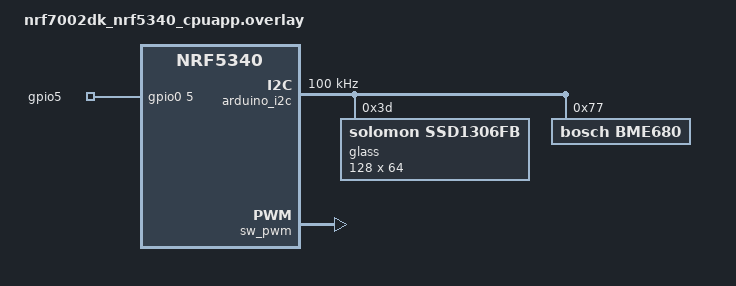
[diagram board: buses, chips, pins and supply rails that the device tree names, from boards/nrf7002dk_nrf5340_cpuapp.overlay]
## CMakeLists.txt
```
#
# Copyright (c) 2021 Nordic Semiconductor ASA
#
# SPDX-License-Identifier: LicenseRef-Nordic-5-Clause
#

cmake_minimum_required(VERSION 3.20.0)
set(SHIELD ssd1306_128x64)

# Set Kconfig root files that will be processed as a first Kconfig for used child images.
set(mcuboot_KCONFIG_ROOT "\\\${ZEPHYR_CONNECTEDHOMEIP_MODULE_DIR}/config/nrfconnect/chip-module/Kconfig.mcuboot.root")
set(multiprotocol_rpmsg_KCONFIG_ROOT "\\\${ZEPHYR_CONNECTEDHOMEIP_MODULE_DIR}/config/nrfconnect/chip-module/Kconfig.multiprotocol_rpmsg.root")
set(hci_rpmsg_KCONFIG_ROOT "\\\${ZEPHYR_CONNECTEDHOMEIP_MODULE_DIR}/config/nrfconnect/chip-module/Kconfig.hci_rpmsg.root")

# For prj.conf the CONF_FILE is empty. In other case extract the exact file name from the path string.
if(CONF_FILE)
    get_filename_component(CONFIG_FILE_NAME ${CONF_FILE} NAME)
endif()

if("${CONFIG_FILE_NAME}" STREQUAL "prj_thread_wifi_switched.conf")
    set(PM_STATIC_YML_FILE ${CMAKE_CURRENT_SOURCE_DIR}/configuration/${BOARD}/pm_static_thread_wifi_switched.yml)
elseif(NOT "${CONFIG_FILE_NAME}" STREQUAL "prj_no_dfu.conf")
    set(PM_STATIC_YML_FILE ${CMAKE_CURRENT_SOURCE_DIR}/configuration/${BOARD}/pm_static_dfu.yml)
endif()

find_package(Zephyr HINTS $ENV{ZEPHYR_BASE})

project(lock)

set(COMMON_ROOT ${ZEPHYR_NRF_MODULE_DIR}/samples/matter/common)
set(NLIO_ROOT ${ZEPHYR_CONNECTEDHOMEIP_MODULE_DIR}/third_party/nlio/repo)
include(${ZEPHYR_CONNECTEDHOMEIP_MODULE_DIR}/config/nrfconnect/app/enable-gnu-std.cmake)
include(${ZEPHYR_CONNECTEDHOMEIP_MODULE_DIR}/src/app/chip_data_model.cmake)

# NORDIC SDK APP START
target_include_directories(app PRIVATE
    src
    ${COMMON_ROOT}/src
    ${NLIO_ROOT}/include
    ${ZEPHYR_CONNECTEDHOMEIP_MODULE_DIR}/zzz_generated/app-common
)

target_sources(app PRIVATE
    src/app_task.cpp
    src/bolt_lock_manager.cpp
    src/main.cpp
    src/zcl_callbacks.cpp
    src/zap-generated/callback-stub.cpp
    src/zap-generated/IMClusterCommandHandler.cpp
    ${COMMON_ROOT}/src/led_widget.cpp
)

if(CONFIG_CHIP_OTA_REQUESTOR OR CONFIG_MCUMGR_TRANSPORT_BT)
    target_sources(app PRIVATE ${COMMON_ROOT}/src/ota_util.cpp)
endif()

if(CONFIG_CHIP_NUS)
    target_sources(app PRIVATE ${COMMON_ROOT}/src/bt_nus_service.cpp)
endif()

if(CONFIG_MCUMGR_TRANSPORT_BT)
    zephyr_library_link_libraries(MCUBOOT_BOOTUTIL)
    target_sources(app PRIVATE ${COMMON_ROOT}/src/dfu_over_smp.cpp)
endif()

if(CONFIG_THREAD_WIFI_SWITCHING)
    target_sources(app PRIVATE
        src/software_images_swapper.cpp
        ${COMMON_ROOT}/src/ota_multi_image_processor_impl.cpp
        ${COMMON_ROOT}/src/ota_multi_image_downloader.cpp
    )
endif()

if(CONFIG_CHIP_ICD_SUBSCRIPTION_HANDLING)
    target_sources(app PRIVATE ${COMMON_ROOT}/src/icd_util.cpp)
endif()

chip_configure_data_model(app
    INCLUDE_SERVER
    BYPASS_IDL
    GEN_DIR src/zap-generated
    ZAP_FILE ${CMAKE_CURRENT_SOURCE_DIR}/src/lock.zap
)

if(CONFIG_THREAD_WIFI_SWITCHING)
    find_package(Python3)
    set(app_idx ${CONFIG_APPLICATION_IDX})
    add_custom_target(flash-external
        COMMAND ${Python3_EXECUTABLE} ${CMAKE_CURRENT_SOURCE_DIR}/src/flash-external.py
            --app ${APPLICATION_BINARY_DIR}/zephyr/app_update.bin
            --app-offset ${PM_APP_${app_idx}_CORE_APP_OFFSET}
            --app-size ${PM_APP_${app_idx}_CORE_APP_SIZE}
            --net ${APPLICATION_BINARY_DIR}/zephyr/net_core_app_update.bin
            --net-offset ${PM_APP_${app_idx}_CORE_NET_OFFSET}
            --net-size ${PM_APP_${app_idx}_CORE_NET_SIZE}
        USES_TERMINAL
        DEPENDS
            ${APPLICATION_BINARY_DIR}/zephyr/app_update.bin
            ${APPLICATION_BINARY_DIR}/zephyr/net_core_app_update.bin
    )
endif()
# NORDIC SDK APP END
```

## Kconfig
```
#
# Copyright (c) 2021 Nordic Semiconductor
#
# SPDX-License-Identifier: LicenseRef-Nordic-5-Clause
#

mainmenu "Aeroguard"

config THREAD_WIFI_SWITCHING
	bool "Switching between Thread and Wi-Fi network support"
	depends on SOC_SERIES_NRF53X
	depends on NET_L2_OPENTHREAD || CHIP_WIFI
	depends on CHIP_OTA_REQUESTOR
	select EXPERIMENTAL
	help
	  Enable the functionality that allows a user to switch between Matter over Thread and Matter
	  over Wi-Fi variants of the application, stored in the respective partitions in the external
	  flash memory.

if THREAD_WIFI_SWITCHING

config APPLICATION_IDX
	int
	default 1 if NET_L2_OPENTHREAD
	default 2 if CHIP_WIFI

config APPLICATION_OTHER_IDX
	int
	default 2 if NET_L2_OPENTHREAD
	default 1 if CHIP_WIFI

config APPLICATION_LABEL
	string
	default "Thread" if NET_L2_OPENTHREAD
	default "Wi-Fi" if CHIP_WIFI

config APPLICATION_OTHER_LABEL
	string
	default "Wi-Fi" if NET_L2_OPENTHREAD
	default "Thread" if CHIP_WIFI

config THREAD_WIFI_SWITCHING_CLI_SUPPORT
	bool "Add CLI command for triggering of the switch between Thread and Wi-Fi"
	default n
	select CHIP_LIB_SHELL

# We need more heap size for image swap buffers
config CHIP_MALLOC_SYS_HEAP_SIZE
	default 30720 if CHIP_WIFI
	default 10240 if NET_L2_OPENTHREAD

endif

# Sample configuration used for Thread networking
if NET_L2_OPENTHREAD

choice OPENTHREAD_NORDIC_LIBRARY_CONFIGURATION
	default OPENTHREAD_NORDIC_LIBRARY_MTD
endchoice

choice OPENTHREAD_DEVICE_TYPE
	default OPENTHREAD_MTD
endchoice

config CHIP_ENABLE_SLEEPY_END_DEVICE_SUPPORT
	bool
	default y

# Reduce Thread TX output power to 0 dBm for SED device
config OPENTHREAD_DEFAULT_TX_POWER
	int
	default 0

endif # NET_L2_OPENTHREAD

if CHIP_WIFI

config NRF_WIFI_LOW_POWER
	default y

endif # CHIP_WIFI

config CHIP_ICD_SUBSCRIPTION_HANDLING
	bool
	default y

source "${ZEPHYR_CONNECTEDHOMEIP_MODULE_DIR}/config/nrfconnect/chip-module/Kconfig.features"
source "${ZEPHYR_CONNECTEDHOMEIP_MODULE_DIR}/config/nrfconnect/chip-module/Kconfig.defaults"
source "Kconfig.zephyr"
```

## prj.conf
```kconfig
#
# Copyright (c) 2022 Nordic Semiconductor ASA
#
# SPDX-License-Identifier: LicenseRef-Nordic-5-Clause
#

# This sample uses Kconfig.defaults to set options common for all
# samples. This file should contain only options specific for this sample
# or overrides of default values.

# Enable CHIP
CONFIG_CHIP=y
CONFIG_CHIP_PROJECT_CONFIG="src/chip_project_config.h"
# 32774 == 0x8006 (example lock-app)
CONFIG_CHIP_DEVICE_PRODUCT_ID=32774
CONFIG_STD_CPP14=y

# Add support for LEDs and buttons on Nordic development kits
CONFIG_DK_LIBRARY=y

# Bluetooth Low Energy configuration
CONFIG_BT_DEVICE_NAME="Aeroguard"

# Suspend devices when the CPU goes into sleep
CONFIG_PM_DEVICE=y

# Other settings
CONFIG_THREAD_NAME=y
CONFIG_MPU_STACK_GUARD=y
CONFIG_RESET_ON_FATAL_ERROR=n

# Reduce application size
CONFIG_USE_SEGGER_RTT=n

# Enable Factory Data feature
CONFIG_CHIP_FACTORY_DATA=y
CONFIG_CHIP_FACTORY_DATA_BUILD=y

# Enable i2c and sensor
CONFIG_I2C=y
CONFIG_SENSOR=y

# BME680 BSEC
CONFIG_BME68X_IAQ=y
CONFIG_BME680=n

# Display and LVGL options below
CONFIG_DISPLAY=y
CONFIG_DISPLAY_LOG_LEVEL_ERR=y

CONFIG_SSD1306_REVERSE_MODE=y

CONFIG_LVGL=y
CONFIG_LV_MEM_CUSTOM=y
CONFIG_LV_USE_LOG=n
CONFIG_LV_USE_MONKEY=n
CONFIG_LV_FONT_MONTSERRAT_14=y
CONFIG_LV_FONT_DEFAULT_MONTSERRAT_14=y

CONFIG_LV_USE_THEME_DEFAULT=y
CONFIG_LV_Z_VDB_SIZE=32
CONFIG_LV_COLOR_DEPTH_1=y

CONFIG_LV_USE_ARC=n
CONFIG_LV_USE_BAR=n
CONFIG_LV_USE_BTN=n
CONFIG_LV_USE_BTNMATRIX=n
CONFIG_LV_USE_CANVAS=n
CONFIG_LV_USE_CHECKBOX=n
CONFIG_LV_USE_DROPDOWN=n
CONFIG_LV_USE_IMG=n
CONFIG_LV_USE_LABEL=y
CONFIG_LV_LABEL_TEXT_SELECTION=n
CONFIG_LV_LABEL_LONG_TXT_HINT=n
CONFIG_LV_USE_LINE=n
CONFIG_LV_USE_ROLLER=n
CONFIG_LV_USE_SLIDER=n
CONFIG_LV_USE_SWITCH=n
CONFIG_LV_USE_TEXTAREA=n
CONFIG_LV_USE_TABLE=n

CONFIG_LV_USE_ANIMIMG=n
CONFIG_LV_USE_CALENDAR=n
CONFIG_LV_USE_CHART=n
CONFIG_LV_USE_COLORWHEEL=n
CONFIG_LV_USE_IMGBTN=n
CONFIG_LV_USE_KEYBOARD=n
CONFIG_LV_USE_LED=n
CONFIG_LV_USE_LIST=n
CONFIG_LV_USE_MENU=n
CONFIG_LV_USE_METER=n
CONFIG_LV_USE_MSGBOX=n
CONFIG_LV_USE_SPAN=n
CONFIG_LV_USE_SPINBOX=n
CONFIG_LV_USE_SPINNER=n
CONFIG_LV_USE_TABVIEW=n
CONFIG_LV_USE_TILEVIEW=n
CONFIG_LV_USE_WIN=n
CONFIG_LV_USE_THEME_BASIC=y
CONFIG_LV_USE_FLEX=y
CONFIG_LV_USE_GRID=y
CONFIG_LV_USE_SNAPSHOT=n
CONFIG_LV_BUILD_EXAMPLES=n

CONFIG_SHELL=n
CONFIG_CHIP_LIB_SHELL=n
CONFIG_ASSERT=n

CONFIG_NET_SOCKETS_POLL_MAX=5

CONFIG_BT=y
CONFIG_BT_PERIPHERAL=y

CONFIG_MBEDTLS_ENABLE_HEAP=y
CONFIG_MBEDTLS_HEAP_SIZE=8192
CONFIG_MBEDTLS_TLS_LIBRARY=y

CONFIG_MBEDTLS_AES_C=y
CONFIG_MBEDTLS_ECP_C=y
CONFIG_MBEDTLS_ECP_DP_SECP256R1_ENABLED=y
CONFIG_MBEDTLS_CTR_DRBG_C=y
CONFIG_MBEDTLS_CIPHER_MODE_CTR=y
CONFIG_MBEDTLS_ECJPAKE_C=y
CONFIG_MBEDTLS_SHA256_C=y
CONFIG_MBEDTLS_PK_C=y
CONFIG_MBEDTLS_PK_WRITE_C=y
CONFIG_MBEDTLS_X509_CREATE_C=y
CONFIG_MBEDTLS_X509_CSR_WRITE_C=y

# Disable unneeded crypto operations
CONFIG_MBEDTLS_SHA384_C=n
CONFIG_MBEDTLS_SHA512_C=n
CONFIG_MBEDTLS_CIPHER_MODE_XTS=n
CONFIG_MBEDTLS_CHACHA20_C=n
CONFIG_MBEDTLS_POLY1305_C=n
CONFIG_MBEDTLS_CHACHAPOLY_C=n
CONFIG_MBEDTLS_GCM_C=n
CONFIG_MBEDTLS_RSA_C=n

CONFIG_LV_Z_MEM_POOL_NUMBER_BLOCKS=2
CONFIG_MAIN_STACK_SIZE=8192

CONFIG_LOG=n
CONFIG_PWM=y
CONFIG_GPIO=y
```

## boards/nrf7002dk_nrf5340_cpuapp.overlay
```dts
/*
 * Copyright (c) 2021 Nordic Semiconductor ASA
 *
 * SPDX-License-Identifier: LicenseRef-Nordic-5-Clause
 */

#include <zephyr/dt-bindings/ipc_service/static_vrings.h>

/ {
	chosen {
		nordic,pm-ext-flash = &mx25r64;
	};
    gpiocustom {
        compatible = "gpio-keys";
        gpio5: gpio5 {
            gpios = <&gpio0 5 GPIO_ACTIVE_HIGH>;
        };
    };
    aliases {
        gpio5 = &gpio5;
    };
};

/* Set IPC thread priority to the highest value to not collide with other threads. */
&ipc0 {
    zephyr,priority = <0 PRIO_COOP>;
};

&arduino_i2c {
	compatible = "nordic,nrf-twim";
	status = "okay";
	clock-frequency = <I2C_BITRATE_STANDARD>;
	zephyr,concat-buf-size = <1024>;	

	glass: ssd1306@3d {
		compatible = "solomon,ssd1306fb";
		reg = <0x3d>;
		width = <128>;
		height = <64>;
		segment-offset = <0>;
		page-offset = <0>;
		display-offset = <0>;
		multiplex-ratio = <63>;
		segment-remap;
		com-invdir;
		prechargep = <0x22>;
	};
	bme680@77 {
		compatible = "bosch,bme680";
		reg = <0x77>;
		status = "okay";
	};
};

&pwm0 {
	status = "disabled";
};

&sw_pwm {
	status = "okay";
	channel-gpios = <&gpio0 4 PWM_POLARITY_NORMAL>;
};

&pwm_led0 {
	pwms = <&sw_pwm 0 PWM_MSEC(20) PWM_POLARITY_NORMAL>;
};
```

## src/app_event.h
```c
/*
 * Copyright (c) 2021 Nordic Semiconductor ASA
 *
 * SPDX-License-Identifier: LicenseRef-Nordic-5-Clause
 */

#pragma once

#include <cstdint>

#include "event_types.h"

class LEDWidget;

enum class AppEventType : uint8_t {
	None = 0,
	Button,
	ButtonPushed,
	ButtonReleased,
	Timer,
	UpdateLedState,
	IdentifyStart,
	IdentifyStop,
	NUSCommand,
    SensorDataRead,
    DisplayUpdate,
	FiltrationActivate,
	FiltrationDeactivate,
};

enum class FunctionEvent : uint8_t { NoneSelected = 0, SoftwareUpdate = 0, FactoryReset, AdvertisingStart };

struct AppEvent {
	union {
		struct {
			uint8_t PinNo;
			uint8_t Action;
		} ButtonEvent;
		struct {
			void *Context;
		} TimerEvent;
		struct {
			uint8_t Action;
			int32_t Actor;
		} 
		LockEvent;
		struct {
			LEDWidget *LedWidget;
		} UpdateLedStateEvent;
	};

	AppEventType Type{ AppEventType::None };
	EventHandler Handler;
};
```

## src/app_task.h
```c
/*
 * Copyright (c) 2021 Nordic Semiconductor ASA
 *
 * SPDX-License-Identifier: LicenseRef-Nordic-5-Clause
 */

#pragma once

#include "app_event.h"
#include "bolt_lock_manager.h"
#include "led_widget.h"

#include <platform/CHIPDeviceLayer.h>

#if CONFIG_CHIP_FACTORY_DATA
#include <platform/nrfconnect/FactoryDataProvider.h>
#else
#include <platform/nrfconnect/DeviceInstanceInfoProviderImpl.h>
#endif

#ifdef CONFIG_MCUMGR_TRANSPORT_BT
#include "dfu_over_smp.h"
#endif

#ifdef CONFIG_CHIP_ICD_SUBSCRIPTION_HANDLING
#include "icd_util.h"
#endif

struct k_timer;
struct Identify;

class AppTask {
public:

	static AppTask &Instance()
	{
		static AppTask sAppTask;
		return sAppTask;
	};

	CHIP_ERROR StartApp();

	void UpdateClusterState(BoltLockManager::State state, BoltLockManager::OperationSource source);

	static void PostEvent(const AppEvent &event);
	static void IdentifyStartHandler(Identify *);
	static void IdentifyStopHandler(Identify *);
	static void SensorReadTimer(struct k_timer *timer_id);

private:
	CHIP_ERROR Init();

	void CancelTimer();
	void StartTimer(uint32_t timeoutInMs);
	static void DispatchEvent(const AppEvent &event);
	static void FunctionTimerEventHandler(const AppEvent &event);
	static void FunctionHandler(const AppEvent &event);
	static void StartBLEAdvertisementAndLockActionEventHandler(const AppEvent &event);
	static void LockActionEventHandler(const AppEvent &event);
	static void StartBLEAdvertisementHandler(const AppEvent &event);
	static void UpdateLedStateEventHandler(const AppEvent &event);
	static void ReadSensorData(const AppEvent &event);
	static void UpdateDisplay(const AppEvent &event);
	static void ActivateFiltration(const AppEvent &event);
	static void DeactivateFiltration(const AppEvent &event);
	static void ChipEventHandler(const chip::DeviceLayer::ChipDeviceEvent *event, intptr_t arg);
	static void ButtonEventHandler(uint32_t buttonState, uint32_t hasChanged);
	static void LEDStateUpdateHandler(LEDWidget &ledWidget);
	static void FunctionTimerTimeoutCallback(k_timer *timer);
	static void UpdateStatusLED();

	static void LockStateChanged(BoltLockManager::State state, BoltLockManager::OperationSource source);

#ifdef CONFIG_THREAD_WIFI_SWITCHING
	static void SwitchImagesDone();
	static void SwitchImagesTriggerHandler(const AppEvent &event);
	static void SwitchImagesTimerTimeoutCallback(k_timer *timer);
	static void SwitchImagesEventHandler(const AppEvent &event);

	bool mSwitchImagesTimerActive = false;
#endif

#ifdef CONFIG_CHIP_NUS
	static void NUSLockCallback(void *context);
	static void NUSUnlockCallback(void *context);
#endif

#ifdef CONFIG_THREAD_WIFI_SWITCHING_CLI_SUPPORT
	static void RegisterSwitchCliCommand();
#endif

	FunctionEvent mFunction = FunctionEvent::NoneSelected;
	bool mFunctionTimerActive = false;

#if CONFIG_CHIP_FACTORY_DATA
	chip::DeviceLayer::FactoryDataProvider<chip::DeviceLayer::InternalFlashFactoryData> mFactoryDataProvider;
#endif
};
```

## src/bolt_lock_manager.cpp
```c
/*
 * Copyright (c) 2021 Nordic Semiconductor ASA
 *
 * SPDX-License-Identifier: LicenseRef-Nordic-5-Clause
 */

#include "bolt_lock_manager.h"

#include "app_event.h"
#include "app_task.h"

using namespace chip;

BoltLockManager BoltLockManager::sLock;

void BoltLockManager::Init(StateChangeCallback callback)
{
	mStateChangeCallback = callback;

	k_timer_init(&mActuatorTimer, &BoltLockManager::ActuatorTimerEventHandler, nullptr);
	k_timer_user_data_set(&mActuatorTimer, this);
}

void BoltLockManager::Lock(OperationSource source)
{
	VerifyOrReturn(mState != State::kLockingCompleted);
	SetState(State::kLockingInitiated, source);

	mActuatorOperationSource = source;
	k_timer_start(&mActuatorTimer, K_MSEC(kActuatorMovementTimeMs), K_NO_WAIT);
}

void BoltLockManager::Unlock(OperationSource source)
{
	VerifyOrReturn(mState != State::kUnlockingCompleted);
	SetState(State::kUnlockingInitiated, source);

	mActuatorOperationSource = source;
	k_timer_start(&mActuatorTimer, K_MSEC(kActuatorMovementTimeMs), K_NO_WAIT);
}

void BoltLockManager::ActuatorTimerEventHandler(k_timer *timer)
{
	/*
	 * The timer event handler is called in the context of the system clock ISR.
	 * Post an event to the application task queue to process the event in the
	 * context of the application thread.
	 */

	AppEvent event;
	event.Type = AppEventType::Timer;
	event.TimerEvent.Context = static_cast<BoltLockManager *>(k_timer_user_data_get(timer));
	event.Handler = BoltLockManager::ActuatorAppEventHandler;
	AppTask::Instance().PostEvent(event);
}

void BoltLockManager::ActuatorAppEventHandler(const AppEvent &event)
{
	BoltLockManager *lock = static_cast<BoltLockManager *>(event.TimerEvent.Context);

	if (!lock) {
		return;
	}

	switch (lock->mState) {
	case State::kLockingInitiated:
		lock->SetState(State::kLockingCompleted, lock->mActuatorOperationSource);
		break;
	case State::kUnlockingInitiated:
		lock->SetState(State::kUnlockingCompleted, lock->mActuatorOperationSource);
		break;
	default:
		break;
	}
}

void BoltLockManager::SetState(State state, OperationSource source)
{
	mState = state;

	if (mStateChangeCallback != nullptr) {
		mStateChangeCallback(state, source);
	}
}
```

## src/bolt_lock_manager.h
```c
/*
 * Copyright (c) 2021 Nordic Semiconductor ASA
 *
 * SPDX-License-Identifier: LicenseRef-Nordic-5-Clause
 */

#pragma once

#include <app/clusters/door-lock-server/door-lock-server.h>
#include <lib/core/ClusterEnums.h>

#include <zephyr/kernel.h>

#include <cstdint>

class AppEvent;

class BoltLockManager {
public:
	static constexpr size_t kMaxCredentialLength = 128;

	enum class State : uint8_t {
		kLockingInitiated = 0,
		kLockingCompleted,
		kUnlockingInitiated,
		kUnlockingCompleted,
	};

	using OperationSource = chip::app::Clusters::DoorLock::OperationSourceEnum;
	using StateChangeCallback = void (*)(State, OperationSource);

	static constexpr uint32_t kActuatorMovementTimeMs = 2000;

	void Init(StateChangeCallback callback);

	State GetState() const { return mState; }
	bool IsLocked() const { return mState == State::kLockingCompleted; }

	void Lock(OperationSource source);
	void Unlock(OperationSource source);

private:
	friend class AppTask;

	void SetState(State state, OperationSource source);

	static void ActuatorTimerEventHandler(k_timer *timer);
	static void ActuatorAppEventHandler(const AppEvent &aEvent);
	friend BoltLockManager &BoltLockMgr();

	State mState = State::kUnlockingCompleted;
	StateChangeCallback mStateChangeCallback = nullptr;
	OperationSource mActuatorOperationSource = OperationSource::kButton;
	k_timer mActuatorTimer = {};

	static BoltLockManager sLock;
};

inline BoltLockManager &BoltLockMgr()
{
	return BoltLockManager::sLock;
}
```

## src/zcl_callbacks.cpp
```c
/*
 * Copyright (c) 2021 Nordic Semiconductor ASA
 *
 * SPDX-License-Identifier: LicenseRef-Nordic-5-Clause
 */

#include "app_task.h"
#include "bolt_lock_manager.h"

#include <app-common/zap-generated/attributes/Accessors.h>
#include <app-common/zap-generated/ids/Clusters.h>
#include <app/ConcreteAttributePath.h>
#include <app/clusters/door-lock-server/door-lock-server.h>
#include <lib/support/CodeUtils.h>

using namespace ::chip;
using namespace ::chip::app::Clusters;
using namespace ::chip::app::Clusters::DoorLock;

void MatterPostAttributeChangeCallback(const chip::app::ConcreteAttributePath &attributePath, uint8_t type,
				       uint16_t size, uint8_t *value)
{
	VerifyOrReturn(attributePath.mClusterId == DoorLock::Id &&
		       attributePath.mAttributeId == DoorLock::Attributes::LockState::Id);

	/* Post events only if current lock state is different than given */
	switch (*value) {
	case to_underlying(DlLockState::kLocked):
		BoltLockMgr().Lock(BoltLockManager::OperationSource::kRemote);
		break;
	case to_underlying(DlLockState::kUnlocked):
		BoltLockMgr().Unlock(BoltLockManager::OperationSource::kRemote);
		break;
	default:
		break;
	}
}

bool emberAfPluginDoorLockOnDoorLockCommand(EndpointId endpointId, const Optional<ByteSpan> &pinCode,
					    OperationErrorEnum &err)
{
	BoltLockMgr().Lock(BoltLockManager::OperationSource::kRemote);
	return true;
}

bool emberAfPluginDoorLockOnDoorUnlockCommand(EndpointId endpointId, const Optional<ByteSpan> &pinCode,
					      OperationErrorEnum &err)
{
	/* Handle changing attribute state on command reception */
	BoltLockMgr().Unlock(BoltLockManager::OperationSource::kRemote);

	return true;
}

void emberAfDoorLockClusterInitCallback(EndpointId endpoint)
{
	DoorLockServer::Instance().InitServer(endpoint);

	const auto logOnFailure = [](EmberAfStatus status, const char *attributeName) {
		if (status != EMBER_ZCL_STATUS_SUCCESS) {
			ChipLogError(Zcl, "Failed to set DoorLock %s: %x", attributeName, status);
		}
	};

	logOnFailure(DoorLock::Attributes::LockType::Set(endpoint, DlLockType::kDeadBolt), "type");

	AppTask::Instance().UpdateClusterState(BoltLockMgr().GetState(),
					       BoltLockManager::OperationSource::kUnspecified);
}
```
